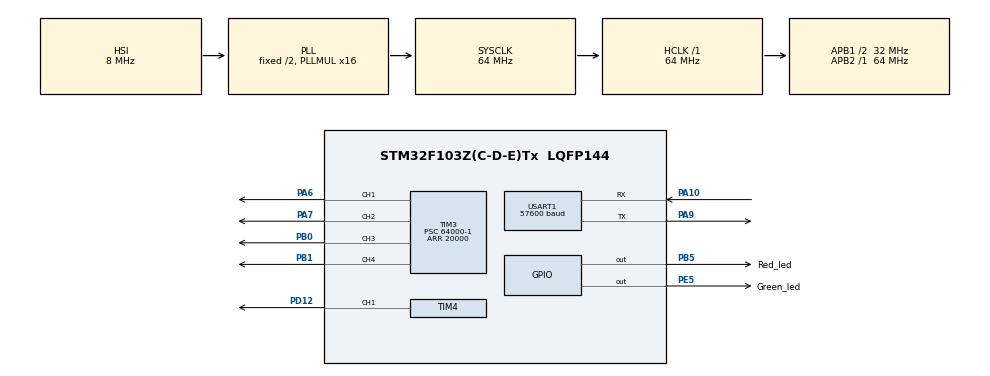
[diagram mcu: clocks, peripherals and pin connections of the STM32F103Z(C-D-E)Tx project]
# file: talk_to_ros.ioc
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Mcu.Family=STM32F1
Mcu.Name=STM32F103Z(C-D-E)Tx
Mcu.Package=LQFP144
NVIC.PriorityGroup=NVIC_PRIORITYGROUP_4
NVIC.USART1_IRQn=true\:0\:0\:false\:false\:true\:true\:true
OSC_IN.Mode=HSE-External-Oscillator
OSC_IN.Signal=RCC_OSC_IN
OSC_OUT.Mode=HSE-External-Oscillator
OSC_OUT.Signal=RCC_OSC_OUT
PA10.Mode=Asynchronous
PA10.Signal=USART1_RX
PA13.Mode=Serial_Wire
PA13.Signal=SYS_JTMS-SWDIO
PA14.Mode=Serial_Wire
PA14.Signal=SYS_JTCK-SWCLK
PA6.Signal=S_TIM3_CH1
PA7.Signal=S_TIM3_CH2
PA9.Mode=Asynchronous
PA9.Signal=USART1_TX
PB0.Signal=S_TIM3_CH3
PB1.Signal=S_TIM3_CH4
PB5.GPIO_Label=Red_led
PB5.GPIO_PuPd=GPIO_PULLUP
PB5.GPIO_Speed=GPIO_SPEED_FREQ_HIGH
PB5.PinState=GPIO_PIN_RESET
PB5.Signal=GPIO_Output
PD12.Signal=S_TIM4_CH1
PE5.GPIO_Label=Green_led
PE5.GPIO_PuPd=GPIO_PULLUP
PE5.GPIO_Speed=GPIO_SPEED_FREQ_HIGH
PE5.PinState=GPIO_PIN_RESET
PE5.Signal=GPIO_Output
ProjectManager.HeapSize=0x200
ProjectManager.StackSize=0x400
ProjectManager.TargetToolchain=MDK-ARM V5.27
RCC.AHBFreq_Value=64000000
RCC.APB1CLKDivider=RCC_HCLK_DIV2
RCC.APB1Freq_Value=32000000
RCC.APB1TimFreq_Value=64000000
RCC.APB2Freq_Value=64000000
RCC.APB2TimFreq_Value=64000000
RCC.HCLKFreq_Value=64000000
RCC.PLLMUL=RCC_PLL_MUL16
RCC.SYSCLKFreq_VALUE=64000000
RCC.SYSCLKSource=RCC_SYSCLKSOURCE_PLLCLK
RCC.USBFreq_Value=64000000
SH.S_TIM3_CH1.0=TIM3_CH1,PWM Generation1 CH1
SH.S_TIM3_CH2.0=TIM3_CH2,PWM Generation2 CH2
SH.S_TIM3_CH3.0=TIM3_CH3,PWM Generation3 CH3
SH.S_TIM3_CH4.0=TIM3_CH4,PWM Generation4 CH4
SH.S_TIM4_CH1.0=TIM4_CH1,PWM Generation1 CH1
TIM3.Channel-PWM\ Generation1\ CH1=TIM_CHANNEL_1
TIM3.Channel-PWM\ Generation2\ CH2=TIM_CHANNEL_2
TIM3.Channel-PWM\ Generation3\ CH3=TIM_CHANNEL_3
TIM3.Channel-PWM\ Generation4\ CH4=TIM_CHANNEL_4
TIM3.Period=20000
TIM3.Prescaler=64000-1
TIM4.Channel-PWM\ Generation1\ CH1=TIM_CHANNEL_1
TIM4.Period=20000
TIM4.Prescaler=64000-1
USART1.BaudRate=57600
USART1.VirtualMode=VM_ASYNC
board=custom

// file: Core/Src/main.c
/* USER CODE BEGIN Header */
/**
  ******************************************************************************
  * @file           : main.c
  * @brief          : Main program body
  ******************************************************************************
  * @attention
  *
  * <h2><center>&copy; Copyright (c) 2020 STMicroelectronics.
  * All rights reserved.</center></h2>
  *
  * This software component is licensed by ST under BSD 3-Clause license,
  * the "License"; You may not use this file except in compliance with the
  * License. You may obtain a copy of the License at:
  *                        opensource.org/licenses/BSD-3-Clause
  *
  ******************************************************************************
  */
/* USER CODE END Header */
#include "main.h"
#include "tim.h"
#include "usart.h"
#include "gpio.h"

void SystemClock_Config(void);

/* USER CODE BEGIN 0 */
uint8_t received_pulses[10];
uint16_t unpack_pulses[5];

/* USER CODE END 0 */

int main(void)
{

  /* MCU Configuration--------------------------------------------------------*/

  /* Reset of all peripherals, Initializes the Flash interface and the Systick. */
  HAL_Init();

  /* Configure the system clock */
  SystemClock_Config();

  /* Initialize all configured peripherals */
  MX_GPIO_Init();
  MX_USART1_UART_Init();
  MX_TIM3_Init();
  MX_TIM4_Init();
  /* USER CODE BEGIN 2 */
  HAL_UART_Receive_IT(&huart1,received_pulses,10);
  /* USER CODE END 2 */

  /* Infinite loop */
  while (1)
  {

  }
}

void SystemClock_Config(void)
{
  RCC_OscInitTypeDef RCC_OscInitStruct = {0};
  RCC_ClkInitTypeDef RCC_ClkInitStruct = {0};

  /** Initializes the RCC Oscillators according to the specified parameters
  * in the RCC_OscInitTypeDef structure.
  */
  RCC_OscInitStruct.OscillatorType = RCC_OSCILLATORTYPE_HSI;
  RCC_OscInitStruct.HSIState = RCC_HSI_ON;
  RCC_OscInitStruct.HSICalibrationValue = RCC_HSICALIBRATION_DEFAULT;
  RCC_OscInitStruct.PLL.PLLState = RCC_PLL_ON;
  RCC_OscInitStruct.PLL.PLLSource = RCC_PLLSOURCE_HSI_DIV2;
  RCC_OscInitStruct.PLL.PLLMUL = RCC_PLL_MUL16;
  if (HAL_RCC_OscConfig(&RCC_OscInitStruct) != HAL_OK)
  {
    Error_Handler();
  }
  /** Initializes the CPU, AHB and APB buses clocks
  */
  RCC_ClkInitStruct.ClockType = RCC_CLOCKTYPE_HCLK|RCC_CLOCKTYPE_SYSCLK
                              |RCC_CLOCKTYPE_PCLK1|RCC_CLOCKTYPE_PCLK2;
  RCC_ClkInitStruct.SYSCLKSource = RCC_SYSCLKSOURCE_PLLCLK;
  RCC_ClkInitStruct.AHBCLKDivider = RCC_SYSCLK_DIV1;
  RCC_ClkInitStruct.APB1CLKDivider = RCC_HCLK_DIV2;
  RCC_ClkInitStruct.APB2CLKDivider = RCC_HCLK_DIV1;

  if (HAL_RCC_ClockConfig(&RCC_ClkInitStruct, FLASH_LATENCY_2) != HAL_OK)
  {
    Error_Handler();
  }
}

/* USER CODE BEGIN 4 */
void unpack_array (uint16_t unpacked_box[],uint8_t array_to_be_unpacked[])
{
	for(int i=0;i<5;i++)
	{
		unpacked_box[i]=array_to_be_unpacked[2*i]*100+array_to_be_unpacked[2*i+1];
	}
}
void robot_change_pose(uint16_t unpack_pulses[5])
{

	__HAL_TIM_SET_COMPARE(&htim3,TIM_CHANNEL_1,unpack_pulses[0]);
	__HAL_TIM_SET_COMPARE(&htim3,TIM_CHANNEL_2,unpack_pulses[1]);
	__HAL_TIM_SET_COMPARE(&htim3,TIM_CHANNEL_3,unpack_pulses[2]);
	__HAL_TIM_SET_COMPARE(&htim3,TIM_CHANNEL_4,unpack_pulses[3]);
	__HAL_TIM_SET_COMPARE(&htim4,TIM_CHANNEL_1,unpack_pulses[4]);

}
void HAL_UART_RxCpltCallback(UART_HandleTypeDef *huart)
{

	unpack_array(unpack_pulses,received_pulses);//transmit_byte(received_pulses);
	robot_change_pose(unpack_pulses);
	HAL_GPIO_TogglePin(Green_led_GPIO_Port,Green_led_Pin);

	//HAL_GPIO_TogglePin(Green_led_GPIO_Port,Green_led_Pin);
	HAL_UART_Transmit(&huart1,received_pulses,10,1000);
	HAL_GPIO_TogglePin(Red_led_GPIO_Port,Red_led_Pin);

  //HAL_GPIO_TogglePin(Red_led_GPIO_Port,Red_led_Pin);
	HAL_UART_Receive_IT(&huart1,received_pulses,10);
}

/* USER CODE END 4 */

void Error_Handler(void)
{
}

/************************ (C) COPYRIGHT STMicroelectronics *****END OF FILE****/
